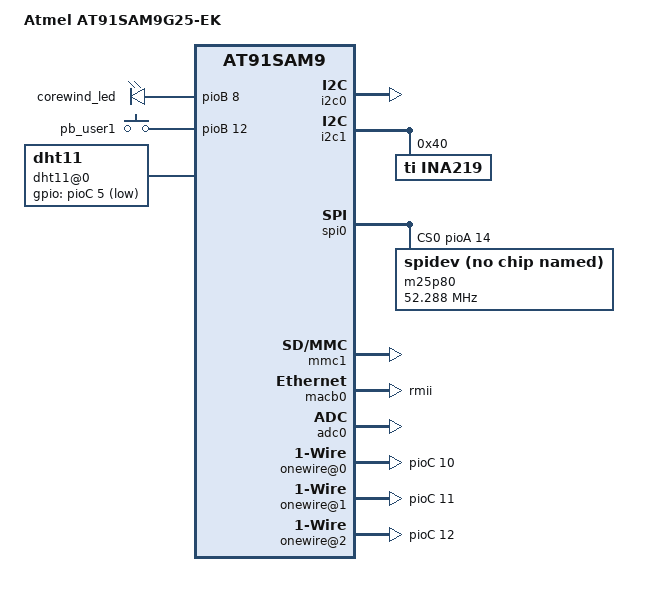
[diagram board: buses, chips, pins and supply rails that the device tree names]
/*
 * at91sam9g25ek.dts - Device Tree file for AT91SAM9G25-EK board
 *
 *  Copyright (C) 2012 Atmel,
 *                2012 Nicolas Ferre <nicolas.ferre@atmel.com>
 *
 * Licensed under GPLv2 or later.
 */
/dts-v1/;
#include "at91sam9g25.dtsi"
#include "at91sam9x5ek.dtsi"

/ {
	model = "Atmel AT91SAM9G25-EK";
	compatible = "atmel,at91sam9g25ek", "atmel,at91sam9x5ek", "atmel,at91sam9x5", "atmel,at91sam9";

	ahb {
		apb {
			i2c0: i2c@f8010000 {
					status = "okay";
                        }; 

			
			i2c1: i2c@f8014000 {
				status="okay";
				ina219@40 {
                                        compatible = "ti,ina219";
                                        reg = <0x40>;
                                        shunt-resistor = <200>;
                                        status = "okay";
                                };

			};

			spi0: spi@f0000000 {
				status = "okay"; /* conflicts with mmc1 */
				cs-gpios = <&pioA 14 0>, <0>, <0>, <0>;
				m25p80@0 {
					compatible = "spidev";
					spi-max-frequency = <52287500>;
					reg = <0>;
				};
			};

			mmc1: mmc@f000c000 {
				status = "okay";
			};

			macb0: ethernet@f802c000 {
				phy-mode = "rmii";
				status = "okay";
			};

			adc0: adc@f804c000 {
				status = "okay";
			};

			rtc@fffffeb0 {
                                status = "okay";
                        };

			 watchdog@fffffe40 {
                                status = "okay";
                        };
			
			ssc0: ssc@f0010000 {
                                status = "disbaled";
                        };
	
			pinctrl@fffff400 {
				w1_0 {
					pinctrl_w1_0: w1_0-0 {
						/* pull up on */
						atmel,pins = <2 10 0x0 0x1>;
					};
				};

				w1_1{
                                        pinctrl_w1_1: w1_1-0 {
						/* pull up on */
                                                atmel,pins = <2 11 0x0 0x1>;
                                        };
                                };

				w1_2{
                                        pinctrl_w1_2: w1_2-0 {
						/* pull up on */
                                                atmel,pins = <2 12 0x0 0x1>;
                                        };
                                };

				dht11_pins {
					pinctrl_dht11_pins_1: dht11_pins_1{
                                                /* pull up on */
                                		atmel,pins = <2 5 0x0 0x1>;
                                        };
                                };


				/*adc0 {
        				pinctrl_adc0_ad0: adc0_ad0 {
            					atmel,pins = <AT91_PIOB 11 AT91_PERIPH_GPIO AT91_PINCTRL_NONE>;
        				};
        				pinctrl_adc0_ad1: adc0_ad1 {
            					atmel,pins = <AT91_PIOB 12 AT91_PERIPH_GPIO AT91_PINCTRL_NONE>;
        				};
        				pinctrl_adc0_ad2: adc0_ad2 {
            					atmel,pins = <AT91_PIOB 13 AT91_PERIPH_GPIO AT91_PINCTRL_NONE>;
        				};
        				pinctrl_adc0_ad3: adc0_ad3 {
            					atmel,pins = <AT91_PIOB 14 AT91_PERIPH_GPIO AT91_PINCTRL_NONE>;
        				};
    				};*/

			};

			/*adc0: adc@f804c000 {
   				status = "okay";
    				pinctrl-names = "default";
    				pinctrl-0 = <&pinctrl_adc0_ad0 &pinctrl_adc0_ad1 &pinctrl_adc0_ad2 &pinctrl_adc0_ad3>;
    				atmel,adc-channels-used = <0xf>;
    				atmel,adc-num-channels = <4>;
    				compatible = "atmel,at91sam9x5-adc";
    				atmel,adc-startup-time = <40>;
    				atmel,adc-status-register = <0x1c>;
    				atmel,adc-trigger-register = <0x08>;
    				atmel,adc-use-external;
    				atmel,adc-vref = <3250>;
    				atmel,adc-res = <8 10>;
    				atmel,adc-res-names = "lowres", "highres";
    				atmel,adc-use-res = "highres";
    		
			};*/	

		};
	};

	leds {
                compatible = "gpio-leds";

                /* little green LED in middle of Aria G25 module */
                corewind_led {
                        label = "corewind_led";
                        gpios = <&pioB 8 GPIO_ACTIVE_HIGH>; /* PB8 */
                        linux,default-trigger = "heartbeat";
                };

        };

	gpio_keys {
                compatible = "gpio-keys";
                #address-cells = <1>;
                #size-cells = <0>;

                pb_user1 {
                        label = "pb_user1";
                        gpios = <&pioB 12 0>;
                        linux,code = <0x100>;
                        gpio-key,wakeup;
                };
        };

	onewire@0 {
		compatible = "w1-gpio";
		gpios = <&pioC 10 GPIO_ACTIVE_LOW>;
		pinctrl-names = "default";
		pinctrl-0 = <&pinctrl_w1_0>;
		};

	onewire@1 {
                compatible = "w1-gpio";
                gpios = <&pioC 11 GPIO_ACTIVE_LOW>;
                pinctrl-names = "default";
                pinctrl-0 = <&pinctrl_w1_1>;
		
        };

	onewire@2 {
                compatible = "w1-gpio";
                gpios = <&pioC 12 GPIO_ACTIVE_LOW>;
                pinctrl-names = "default";
                pinctrl-0 = <&pinctrl_w1_2>;

        };

	dht11@0 {
                                compatible = "dht11";
                                pinctrl-names = "default";
                                pinctrl-0 = <&pinctrl_dht11_pins_1>;
                                gpios = <&pioC 5 GPIO_ACTIVE_LOW>;
                                status = "okay";
         };
	
	/*	dht11@1 {
                                compatible = "dht11";
                                pinctrl-names = "default";
                                pinctrl-0 = <&pinctrl_dht11_pins_2>;
                                gpios = <&pioC 6 GPIO_ACTIVE_LOW>;
                                status = "okay";
         };*/


	/*hlw8012@0 {
		compatible = "hlw8012";
		pinctrl-names = "default";
		status = "okay";
		sel-gpio = <&pioC 29 0>;
		cf-gpio = <&pioC 31 0>;
		cf1-gpio = <&pioC 30 0>;
	};*/

};
